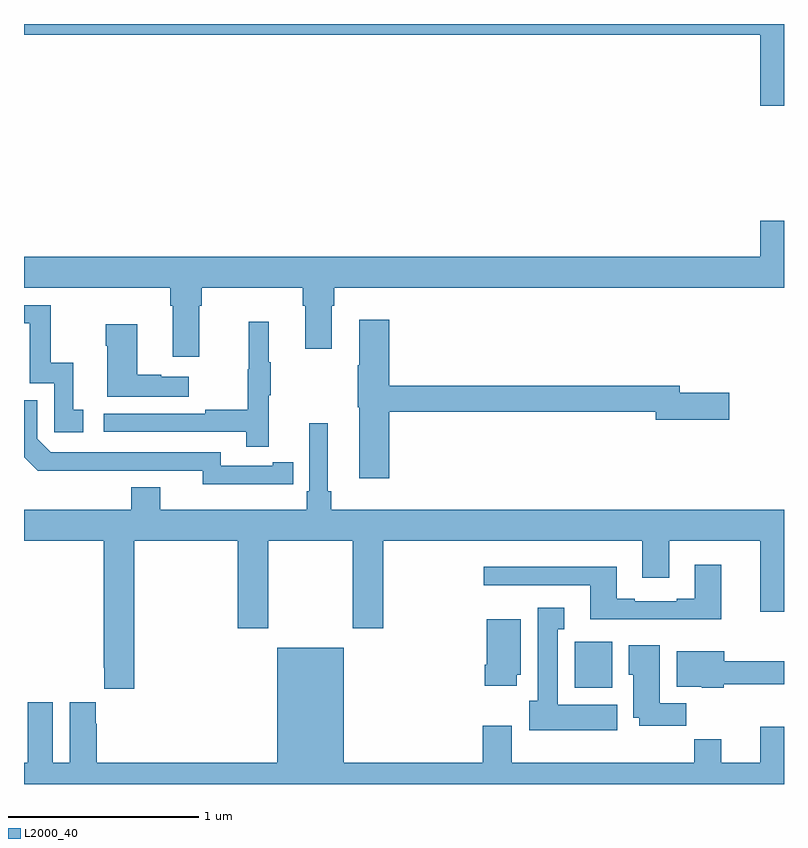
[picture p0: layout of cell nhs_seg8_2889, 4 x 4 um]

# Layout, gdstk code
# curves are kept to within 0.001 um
import gdstk
lib = gdstk.Library(unit=1e-6, precision=1e-09)
def R(c, l, rs):  # rectangles x0, y0, x1, y1
    for r in rs: c.add(gdstk.rectangle(r[:2], r[2:], *l))
def P(c, l, *ps):  # polygons
    for p in ps: c.add(gdstk.Polygon(p, *l))
L2000_40 = (2000, 40)

nhs_seg8_2889 = lib.new_cell('nhs_seg8_2889')
R(nhs_seg8_2889, L2000_40, [(295.898,1102.406,296.095,1102.648)])
P(nhs_seg8_2889, L2000_40, [(293,1105.844),(296.876,1105.844),(296.876,1105.47),(297,1105.47),(297,1105.9),(293,1105.9)],
  [(293.923,1104.416),(293.936,1104.416),(293.936,1104.512),(294.467,1104.512),(294.467,1104.416),(294.479,1104.416),(294.479,1104.192),(294.619,1104.192),(294.619,1104.416),(294.632,1104.416),(294.632,1104.512),(297,1104.512),(297,1104.865),(296.876,1104.865),(296.876,1104.676),(293,1104.676),(293,1104.512),(293.771,1104.512),(293.771,1104.416),(293.783,1104.416),(293.783,1104.15),(293.923,1104.15)],
  [(293.311,1103.871),(293.258,1103.871),(293.258,1104.118),(293.14,1104.118),(293.14,1104.42),(293,1104.42),(293,1104.324),(293.031,1104.324),(293.031,1104.009),(293.16,1104.009),(293.16,1103.751),(293.311,1103.751)],
  [(294.923,1103.86),(296.324,1103.86),(296.324,1103.818),(296.713,1103.818),(296.713,1103.96),(296.452,1103.96),(296.452,1103.996),(294.923,1103.996),(294.923,1104.343),(294.764,1104.343),(294.764,1104.104),(294.757,1104.104),(294.757,1103.883),(294.764,1103.883),(294.764,1103.508),(294.923,1103.508)],
  [(294.287,1103.947),(294.298,1103.947),(294.298,1104.121),(294.287,1104.121),(294.287,1104.334),(294.184,1104.334),(294.184,1104.084),(294.177,1104.084),(294.177,1103.87),(293.953,1103.87),(293.953,1103.85),(293.421,1103.85),(293.421,1103.754),(294.169,1103.754),(294.169,1103.676),(294.287,1103.676)],
  [(293.866,1104.043),(293.723,1104.043),(293.723,1104.053),(293.596,1104.053),(293.596,1104.319),(293.431,1104.319),(293.431,1104.206),(293.438,1104.206),(293.438,1103.939),(293.866,1103.939)],
  [(294.308,1103.478),(294.416,1103.478),(294.416,1103.594),(294.308,1103.594),(294.308,1103.574),(294.036,1103.574),(294.036,1103.646),(293.142,1103.646),(293.07,1103.718),(293.07,1103.919),(293,1103.919),(293,1103.62),(293.072,1103.549),(293.94,1103.55),(293.94,1103.477)],
  [(293.579,1103.18),(294.125,1103.18),(294.125,1102.719),(294.285,1102.719),(294.285,1103.18),(294.73,1103.18),(294.73,1102.719),(294.89,1102.719),(294.89,1103.18),(296.255,1103.18),(296.255,1102.986),(296.395,1102.986),(296.395,1103.18),(296.876,1103.18),(296.876,1102.806),(297,1102.806),(297,1103.344),(294.617,1103.344),(294.617,1103.44),(294.598,1103.44),(294.598,1103.8),(294.501,1103.8),(294.501,1103.44),(294.488,1103.44),(294.488,1103.344),(293.716,1103.344),(293.716,1103.461),(293.564,1103.461),(293.564,1103.344),(293,1103.344),(293,1103.18),(293.419,1103.18),(293.419,1102.513),(293.423,1102.513),(293.423,1102.401),(293.579,1102.401)],
  [(296.671,1103.053),(296.531,1103.053),(296.531,1102.876),(296.435,1102.876),(296.435,1102.863),(296.215,1102.863),(296.215,1102.876),(296.119,1102.876),(296.119,1103.044),(295.419,1103.044),(295.419,1102.947),(295.979,1102.947),(295.979,1102.766),(296.671,1102.766)],
  [(296.122,1102.318),(295.81,1102.318),(295.81,1102.715),(295.843,1102.715),(295.843,1102.828),(295.703,1102.828),(295.703,1102.338),(295.658,1102.338),(295.658,1102.184),(296.122,1102.184)],
  [(295.594,1102.476),(295.615,1102.476),(295.615,1102.768),(295.436,1102.768),(295.436,1102.528),(295.424,1102.528),(295.424,1102.416),(295.594,1102.416)],
  [(296.486,1102.324),(296.347,1102.324),(296.347,1102.63),(296.183,1102.63),(296.183,1102.476),(296.207,1102.476),(296.207,1102.25),(296.237,1102.25),(296.237,1102.206),(296.486,1102.206)],
  [(297,1102.201),(296.876,1102.201),(296.876,1102.012),(296.671,1102.012),(296.671,1102.136),(296.527,1102.136),(296.527,1102.012),(295.567,1102.012),(295.567,1102.207),(295.415,1102.207),(295.415,1102.012),(294.682,1102.012),(294.682,1102.618),(294.332,1102.618),(294.332,1102.012),(293.384,1102.012),(293.384,1102.217),(293.377,1102.217),(293.377,1102.33),(293.24,1102.33),(293.24,1102.012),(293.152,1102.012),(293.152,1102.33),(293.021,1102.33),(293.021,1102.012),(293,1102.012),(293,1101.9),(297,1101.9)],
  [(296.682,1102.424),(297,1102.424),(297,1102.546),(296.686,1102.546),(296.686,1102.6),(296.435,1102.6),(296.435,1102.412),(296.568,1102.412),(296.568,1102.406),(296.682,1102.406)])

lib.write_gds('nhs_seg8_2889.gds')
